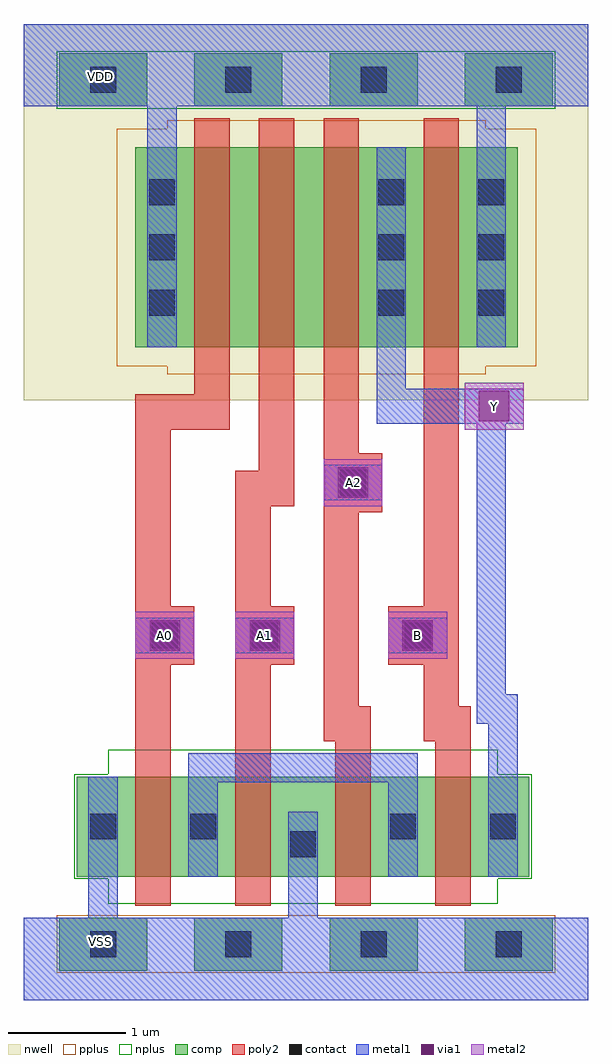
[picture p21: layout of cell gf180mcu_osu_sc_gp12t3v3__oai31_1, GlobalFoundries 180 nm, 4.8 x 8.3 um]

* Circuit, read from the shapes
.subckt gf180mcu_osu_sc_gp12t3v3__oai31_1 A0 A1 A2 B VDD VSS Y
XM1 n1 A0 VSS VSS nfet_03v3 w=0.85u l=0.3u
XM2 VSS A1 n1 VSS nfet_03v3 w=0.85u l=0.3u
XM3 n1 A2 VSS VSS nfet_03v3 w=0.85u l=0.3u
XM4 Y B n1 VSS nfet_03v3 w=0.85u l=0.3u
XM5 n2 A0 VDD VDD pfet_03v3 w=1.7u l=0.3u
XM6 n3 A1 n2 VDD pfet_03v3 w=1.7u l=0.3u
XM7 Y A2 n3 VDD pfet_03v3 w=1.7u l=0.3u
XM8 VDD B Y VDD pfet_03v3 w=1.7u l=0.3u
.ends

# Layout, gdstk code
import gdstk
lib = gdstk.Library(unit=1e-6, precision=1e-09)
def R(c, l, rs):  # rectangles x0, y0, x1, y1
    for r in rs: c.add(gdstk.rectangle(r[:2], r[2:], *l))
def A(c, l, x, y, w, h, nx, ny, dx, dy):  # array of equal rectangles
    R(c, l, [(x+i*dx, y+j*dy, x+i*dx+w, y+j*dy+h) for i in range(nx) for j in range(ny)])
nwell = (21, 0)
comp = (22, 0)
poly2 = (30, 0)
pplus = (31, 0)
nplus = (32, 0)
contact = (33, 0)
metal1 = (34, 0)
via1 = (35, 0)
metal2 = (36, 0)

gf180mcu_osu_sc_gp12t3v3 = lib.new_cell('gf180mcu_osu_sc_gp12t3v3__oai31_1')
R(gf180mcu_osu_sc_gp12t3v3, nwell, [(0,5.1,4.8,8.3)])
A(gf180mcu_osu_sc_gp12t3v3, comp, 0.3, 0.25, 0.75, 0.45, 4, 2, 1.15, 7.35)
R(gf180mcu_osu_sc_gp12t3v3, comp, [(0.45,1.05,4.3,1.9), (0.95,5.55,4.2,7.25)])
R(gf180mcu_osu_sc_gp12t3v3, poly2, [(0.95,0.8,1.25,2.85), (1.8,0.8,2.1,2.85), (2.65,0.8,2.95,2.2), (3.5,0.8,3.8,2.2), (2.55,2.2,2.95,2.5), (3.4,2.2,3.8,2.5), (2.55,2.5,2.85,4.15), (3.4,2.5,3.7,2.85), (0.95,2.85,1.45,3.35), (1.8,2.85,2.3,3.35), (3.1,2.85,3.7,3.35), (0.95,3.35,1.25,4.85), (1.8,3.35,2.1,4.2), (3.4,3.35,3.7,7.5), (2.55,4.15,3.05,4.65), (1.8,4.2,2.3,4.5), (2,4.5,2.3,7.5), (2.55,4.65,2.85,7.5), (0.95,4.85,1.75,5.15), (1.45,5.15,1.75,7.5)])
R(gf180mcu_osu_sc_gp12t3v3, pplus, [(0.28,0.23,4.52,0.72), (1.22,5.32,3.93,5.39), (0.79,5.39,4.36,7.41), (1.22,7.41,3.93,7.48)])
R(gf180mcu_osu_sc_gp12t3v3, nplus, [(0.72,0.82,4.03,1.03), (0.43,1.03,4.32,1.92), (0.72,1.92,4.03,2.13), (0.28,7.58,4.52,8.07)])
A(gf180mcu_osu_sc_gp12t3v3, contact, 0.565, 0.365, 0.22, 0.22, 4, 2, 1.15, 7.35)
A(gf180mcu_osu_sc_gp12t3v3, contact, 1.065, 5.82, 0.22, 0.22, 1, 3, 0, 0.47)
A(gf180mcu_osu_sc_gp12t3v3, contact, 3.015, 5.82, 0.22, 0.22, 1, 3, 0, 0.47)
A(gf180mcu_osu_sc_gp12t3v3, contact, 3.865, 5.82, 0.22, 0.22, 1, 3, 0, 0.47)
R(gf180mcu_osu_sc_gp12t3v3, contact, [(2.265,1.215,2.485,1.435), (0.565,1.365,0.785,1.585), (1.415,1.365,1.635,1.585), (3.115,1.365,3.335,1.585), (3.965,1.365,4.185,1.585), (1.09,2.99,1.31,3.21), (1.94,2.99,2.16,3.21), (3.24,2.99,3.46,3.21), (2.69,4.29,2.91,4.51)])
R(gf180mcu_osu_sc_gp12t3v3, metal1, [(0,0,4.8,0.7), (0.55,0.7,0.8,1.9), (2.25,0.7,2.5,1.6), (1.4,1.05,1.65,1.85), (3.1,1.05,3.35,1.85), (3.95,1.05,4.2,2.35), (1.4,1.85,3.35,2.1), (3.85,2.35,4.2,2.6), (3.85,2.6,4.1,4.9), (0.95,2.95,1.45,3.25), (1.8,2.95,2.3,3.25), (3.1,2.95,3.6,3.25), (2.55,4.25,3.05,4.55), (3,4.9,4.25,5.2), (3,5.2,3.25,7.25), (1.05,5.55,1.3,7.6), (3.85,5.55,4.1,7.6), (0,7.6,4.8,8.3)])
R(gf180mcu_osu_sc_gp12t3v3, via1, [(1.07,2.97,1.33,3.23), (1.92,2.97,2.18,3.23), (3.22,2.97,3.48,3.23), (2.67,4.27,2.93,4.53), (3.87,4.92,4.13,5.18)])
R(gf180mcu_osu_sc_gp12t3v3, metal2, [(0.95,2.9,1.45,3.3), (1.8,2.9,2.3,3.3), (3.1,2.9,3.6,3.3), (2.55,4.2,3.05,4.6), (3.75,4.85,4.25,5.25)])
gf180mcu_osu_sc_gp12t3v3.add(gdstk.Label('A0', (1.2,3.1), layer=36, texttype=10))
gf180mcu_osu_sc_gp12t3v3.add(gdstk.Label('A1', (2.05,3.1), layer=36, texttype=10))
gf180mcu_osu_sc_gp12t3v3.add(gdstk.Label('A2', (2.8,4.4), layer=36, texttype=10))
gf180mcu_osu_sc_gp12t3v3.add(gdstk.Label('B', (3.35,3.1), layer=36, texttype=10))
gf180mcu_osu_sc_gp12t3v3.add(gdstk.Label('Y', (4,5.05), layer=36, texttype=10))
gf180mcu_osu_sc_gp12t3v3.add(gdstk.Label('VSS', (0.65,0.5), layer=34, texttype=10))
gf180mcu_osu_sc_gp12t3v3.add(gdstk.Label('VDD', (0.65,7.85), layer=34, texttype=10))

lib.write_gds('gf180mcu_osu_sc_gp12t3v3__oai31_1.gds')
